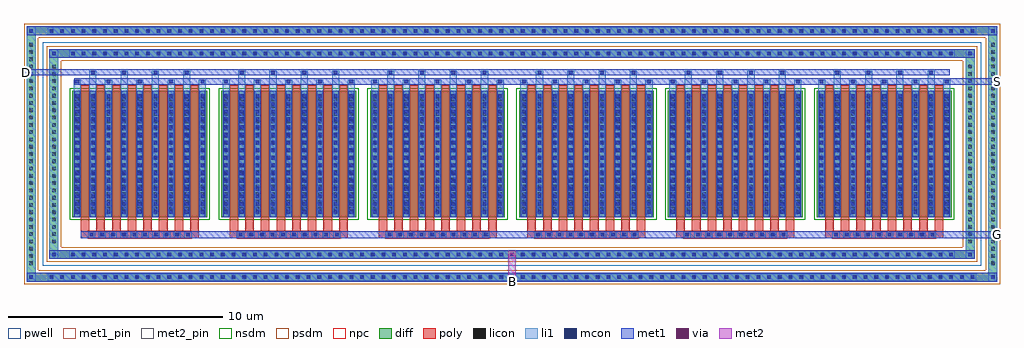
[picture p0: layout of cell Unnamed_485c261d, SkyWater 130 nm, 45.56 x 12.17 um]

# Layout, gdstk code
import gdstk
lib = gdstk.Library(unit=1e-6, precision=5e-09)
def R(c, l, rs):  # rectangles x0, y0, x1, y1
    for r in rs: c.add(gdstk.rectangle(r[:2], r[2:], *l))
def A(c, l, x, y, w, h, nx, ny, dx, dy):  # array of equal rectangles
    R(c, l, [(x+i*dx, y+j*dy, x+i*dx+w, y+j*dy+h) for i in range(nx) for j in range(ny)])
def P(c, l, *ps):  # polygons
    for p in ps: c.add(gdstk.Polygon(p, *l))
pwell = (64, 44)
diff = (65, 20)
poly = (66, 20)
licon = (66, 44)
li1 = (67, 20)
mcon = (67, 44)
met1_pin = (68, 16)
met1 = (68, 20)
via = (68, 44)
met2_pin = (69, 16)
met2 = (69, 20)
nsdm = (93, 44)
psdm = (94, 20)
npc = (95, 20)

unnamed_485c261d = lib.new_cell('Unnamed_485c261d')
R(unnamed_485c261d, pwell, [(-21.9,-5.205,21.9,5.205)])
A(unnamed_485c261d, diff, -21.705, -5.955, 0.41, 0.41, 87, 2, 0.5, 11.5)
A(unnamed_485c261d, diff, -22.65, -5.305, 0.41, 0.41, 1, 31, 0, 0.34)
A(unnamed_485c261d, diff, 22.24, -5.305, 0.41, 0.41, 1, 31, 0, 0.34)
A(unnamed_485c261d, diff, -20.705, -4.895, 0.41, 0.41, 83, 2, 0.5, 9.38)
A(unnamed_485c261d, diff, -21.59, -4.285, 0.41, 0.41, 1, 25, 0, 0.34)
A(unnamed_485c261d, diff, 21.18, -4.285, 0.41, 0.41, 1, 25, 0, 0.34)
A(unnamed_485c261d, diff, -20.52, -2.95, 6.29, 5.9, 6, 1, 6.95, 0)
R(unnamed_485c261d, diff, [(-21.705,-5.955,21.705,-5.545), (-22.65,-5.305,-22.24,5.305), (22.24,-5.305,22.65,5.305), (-20.705,-4.895,20.705,-4.485), (-21.59,-4.285,-21.18,4.285), (21.18,-4.285,21.59,4.285), (-20.705,4.485,20.705,4.895), (-21.705,5.545,21.705,5.955)])
P(unnamed_485c261d, diff, [(22.65,5.955),(-22.65,5.955),(-22.65,-5.545),(-22.24,-5.545),(-22.24,5.545),(22.24,5.545),(22.24,-5.545),(-22.24,-5.545),(-22.65,-5.545),(-22.65,-5.955),(22.65,-5.955)],
  [(21.59,4.895),(-21.59,4.895),(-21.59,-4.485),(-21.18,-4.485),(-21.18,4.485),(21.18,4.485),(21.18,-4.485),(-21.18,-4.485),(-21.59,-4.485),(-21.59,-4.895),(21.59,-4.895)])
A(unnamed_485c261d, poly, -20.13, -3.93, 5.51, 0.33, 6, 1, 6.95, 0)
A(unnamed_485c261d, poly, -19.79, -3.93, 0.33, 0.33, 10, 1, 0.5, 0)
A(unnamed_485c261d, poly, -12.84, -3.93, 0.33, 0.33, 10, 1, 0.5, 0)
A(unnamed_485c261d, poly, -5.89, -3.93, 0.33, 0.33, 10, 1, 0.5, 0)
A(unnamed_485c261d, poly, 1.06, -3.93, 0.33, 0.33, 10, 1, 0.5, 0)
A(unnamed_485c261d, poly, 8.01, -3.93, 0.33, 0.33, 10, 1, 0.5, 0)
A(unnamed_485c261d, poly, 14.96, -3.93, 0.33, 0.33, 10, 1, 0.5, 0)
A(unnamed_485c261d, poly, -20.13, -3.6, 0.4, 0.4, 8, 1, 0.73, 0)
A(unnamed_485c261d, poly, -13.18, -3.6, 0.4, 0.4, 8, 1, 0.73, 0)
A(unnamed_485c261d, poly, -6.23, -3.6, 0.4, 0.4, 8, 1, 0.73, 0)
A(unnamed_485c261d, poly, 0.72, -3.6, 0.4, 0.4, 8, 1, 0.73, 0)
A(unnamed_485c261d, poly, 7.67, -3.6, 0.4, 0.4, 8, 1, 0.73, 0)
A(unnamed_485c261d, poly, 14.62, -3.6, 0.4, 0.4, 8, 1, 0.73, 0)
A(unnamed_485c261d, poly, -20.13, -3.2, 0.4, 6.4, 8, 1, 0.73, 0)
A(unnamed_485c261d, poly, -13.18, -3.2, 0.4, 6.4, 8, 1, 0.73, 0)
A(unnamed_485c261d, poly, -6.23, -3.2, 0.4, 6.4, 8, 1, 0.73, 0)
A(unnamed_485c261d, poly, 0.72, -3.2, 0.4, 6.4, 8, 1, 0.73, 0)
A(unnamed_485c261d, poly, 7.67, -3.2, 0.4, 6.4, 8, 1, 0.73, 0)
A(unnamed_485c261d, poly, 14.62, -3.2, 0.4, 6.4, 8, 1, 0.73, 0)
A(unnamed_485c261d, licon, -21.585, -5.835, 0.17, 0.17, 87, 2, 0.5, 11.5)
A(unnamed_485c261d, licon, -22.53, -5.185, 0.17, 0.17, 1, 31, 0, 0.34)
A(unnamed_485c261d, licon, 22.36, -5.185, 0.17, 0.17, 1, 31, 0, 0.34)
A(unnamed_485c261d, licon, -20.585, -4.775, 0.17, 0.17, 83, 2, 0.5, 9.38)
A(unnamed_485c261d, licon, -21.47, -4.165, 0.17, 0.17, 1, 25, 0, 0.34)
A(unnamed_485c261d, licon, 21.3, -4.165, 0.17, 0.17, 1, 25, 0, 0.34)
A(unnamed_485c261d, licon, -19.71, -3.85, 0.17, 0.17, 10, 1, 0.5, 0)
A(unnamed_485c261d, licon, -12.76, -3.85, 0.17, 0.17, 10, 1, 0.5, 0)
A(unnamed_485c261d, licon, -5.81, -3.85, 0.17, 0.17, 10, 1, 0.5, 0)
A(unnamed_485c261d, licon, 1.14, -3.85, 0.17, 0.17, 10, 1, 0.5, 0)
A(unnamed_485c261d, licon, 8.09, -3.85, 0.17, 0.17, 10, 1, 0.5, 0)
A(unnamed_485c261d, licon, 15.04, -3.85, 0.17, 0.17, 10, 1, 0.5, 0)
A(unnamed_485c261d, licon, -20.38, -2.635, 0.17, 0.17, 9, 16, 0.73, 0.34)
A(unnamed_485c261d, licon, -13.43, -2.635, 0.17, 0.17, 9, 16, 0.73, 0.34)
A(unnamed_485c261d, licon, -6.48, -2.635, 0.17, 0.17, 9, 16, 0.73, 0.34)
A(unnamed_485c261d, licon, 0.47, -2.635, 0.17, 0.17, 9, 16, 0.73, 0.34)
A(unnamed_485c261d, licon, 7.42, -2.635, 0.17, 0.17, 9, 16, 0.73, 0.34)
A(unnamed_485c261d, licon, 14.37, -2.635, 0.17, 0.17, 9, 16, 0.73, 0.34)
A(unnamed_485c261d, li1, -21.665, -5.915, 0.33, 0.33, 87, 2, 0.5, 11.5)
A(unnamed_485c261d, li1, -22.61, -5.265, 0.33, 0.33, 1, 31, 0, 0.34)
A(unnamed_485c261d, li1, 22.28, -5.265, 0.33, 0.33, 1, 31, 0, 0.34)
A(unnamed_485c261d, li1, -20.665, -4.855, 0.33, 0.33, 83, 2, 0.5, 9.38)
A(unnamed_485c261d, li1, -21.55, -4.245, 0.33, 0.33, 1, 25, 0, 0.34)
A(unnamed_485c261d, li1, 21.22, -4.245, 0.33, 0.33, 1, 25, 0, 0.34)
A(unnamed_485c261d, li1, -19.79, -3.93, 0.33, 0.33, 10, 1, 0.5, 0)
A(unnamed_485c261d, li1, -12.84, -3.93, 0.33, 0.33, 10, 1, 0.5, 0)
A(unnamed_485c261d, li1, -5.89, -3.93, 0.33, 0.33, 10, 1, 0.5, 0)
A(unnamed_485c261d, li1, 1.06, -3.93, 0.33, 0.33, 10, 1, 0.5, 0)
A(unnamed_485c261d, li1, 8.01, -3.93, 0.33, 0.33, 10, 1, 0.5, 0)
A(unnamed_485c261d, li1, 14.96, -3.93, 0.33, 0.33, 10, 1, 0.5, 0)
A(unnamed_485c261d, li1, -20.46, -2.95, 0.33, 5.9, 9, 1, 0.73, 0)
A(unnamed_485c261d, li1, -13.51, -2.95, 0.33, 5.9, 9, 1, 0.73, 0)
A(unnamed_485c261d, li1, -6.56, -2.95, 0.33, 5.9, 9, 1, 0.73, 0)
A(unnamed_485c261d, li1, 0.39, -2.95, 0.33, 5.9, 9, 1, 0.73, 0)
A(unnamed_485c261d, li1, 7.34, -2.95, 0.33, 5.9, 9, 1, 0.73, 0)
A(unnamed_485c261d, li1, 14.29, -2.95, 0.33, 5.9, 9, 1, 0.73, 0)
A(unnamed_485c261d, li1, -20.38, -2.785, 0.17, 0.17, 9, 16, 0.73, 0.36)
A(unnamed_485c261d, li1, -20.38, -2.785, 0.17, 5.57, 9, 1, 0.73, 0)
A(unnamed_485c261d, li1, -13.43, -2.785, 0.17, 0.17, 9, 16, 0.73, 0.36)
A(unnamed_485c261d, li1, -13.43, -2.785, 0.17, 5.57, 9, 1, 0.73, 0)
A(unnamed_485c261d, li1, -6.48, -2.785, 0.17, 0.17, 9, 16, 0.73, 0.36)
A(unnamed_485c261d, li1, -6.48, -2.785, 0.17, 5.57, 9, 1, 0.73, 0)
A(unnamed_485c261d, li1, 0.47, -2.785, 0.17, 0.17, 9, 16, 0.73, 0.36)
A(unnamed_485c261d, li1, 0.47, -2.785, 0.17, 5.57, 9, 1, 0.73, 0)
A(unnamed_485c261d, li1, 7.42, -2.785, 0.17, 0.17, 9, 16, 0.73, 0.36)
A(unnamed_485c261d, li1, 7.42, -2.785, 0.17, 5.57, 9, 1, 0.73, 0)
A(unnamed_485c261d, li1, 14.37, -2.785, 0.17, 0.17, 9, 16, 0.73, 0.36)
A(unnamed_485c261d, li1, 14.37, -2.785, 0.17, 5.57, 9, 1, 0.73, 0)
A(unnamed_485c261d, li1, -20.46, -2.715, 0.33, 0.33, 9, 16, 0.73, 0.34)
A(unnamed_485c261d, li1, -13.51, -2.715, 0.33, 0.33, 9, 16, 0.73, 0.34)
A(unnamed_485c261d, li1, -6.56, -2.715, 0.33, 0.33, 9, 16, 0.73, 0.34)
A(unnamed_485c261d, li1, 0.39, -2.715, 0.33, 0.33, 9, 16, 0.73, 0.34)
A(unnamed_485c261d, li1, 7.34, -2.715, 0.33, 0.33, 9, 16, 0.73, 0.34)
A(unnamed_485c261d, li1, 14.29, -2.715, 0.33, 0.33, 9, 16, 0.73, 0.34)
A(unnamed_485c261d, li1, -20.46, 2.95, 0.33, 0.515, 5, 1, 1.46, 0)
A(unnamed_485c261d, li1, -19.73, 2.95, 0.33, 0.945, 4, 1, 1.46, 0)
A(unnamed_485c261d, li1, -13.51, 2.95, 0.33, 0.515, 5, 1, 1.46, 0)
A(unnamed_485c261d, li1, -12.78, 2.95, 0.33, 0.945, 4, 1, 1.46, 0)
A(unnamed_485c261d, li1, -6.56, 2.95, 0.33, 0.515, 5, 1, 1.46, 0)
A(unnamed_485c261d, li1, -5.83, 2.95, 0.33, 0.945, 4, 1, 1.46, 0)
A(unnamed_485c261d, li1, 0.39, 2.95, 0.33, 0.515, 5, 1, 1.46, 0)
A(unnamed_485c261d, li1, 1.12, 2.95, 0.33, 0.945, 4, 1, 1.46, 0)
A(unnamed_485c261d, li1, 7.34, 2.95, 0.33, 0.515, 5, 1, 1.46, 0)
A(unnamed_485c261d, li1, 8.07, 2.95, 0.33, 0.945, 4, 1, 1.46, 0)
A(unnamed_485c261d, li1, 14.29, 2.95, 0.33, 0.515, 5, 1, 1.46, 0)
A(unnamed_485c261d, li1, 15.02, 2.95, 0.33, 0.945, 4, 1, 1.46, 0)
A(unnamed_485c261d, li1, -20.38, 3.295, 0.17, 0.17, 5, 1, 1.46, 0)
A(unnamed_485c261d, li1, -13.43, 3.295, 0.17, 0.17, 5, 1, 1.46, 0)
A(unnamed_485c261d, li1, -6.48, 3.295, 0.17, 0.17, 5, 1, 1.46, 0)
A(unnamed_485c261d, li1, 0.47, 3.295, 0.17, 0.17, 5, 1, 1.46, 0)
A(unnamed_485c261d, li1, 7.42, 3.295, 0.17, 0.17, 5, 1, 1.46, 0)
A(unnamed_485c261d, li1, 14.37, 3.295, 0.17, 0.17, 5, 1, 1.46, 0)
A(unnamed_485c261d, li1, -19.65, 3.725, 0.17, 0.17, 4, 1, 1.46, 0)
A(unnamed_485c261d, li1, -12.7, 3.725, 0.17, 0.17, 4, 1, 1.46, 0)
A(unnamed_485c261d, li1, -5.75, 3.725, 0.17, 0.17, 4, 1, 1.46, 0)
A(unnamed_485c261d, li1, 1.2, 3.725, 0.17, 0.17, 4, 1, 1.46, 0)
A(unnamed_485c261d, li1, 8.15, 3.725, 0.17, 0.17, 4, 1, 1.46, 0)
A(unnamed_485c261d, li1, 15.1, 3.725, 0.17, 0.17, 4, 1, 1.46, 0)
R(unnamed_485c261d, li1, [(-22.65,-5.955,-22.24,-5.545), (22.24,-5.955,22.65,-5.545), (-21.665,-5.915,21.665,-5.585), (-22.53,-5.835,-22.36,-5.665), (-22.53,-5.835,-22.36,-5.665), (22.36,-5.835,22.53,-5.665), (22.36,-5.835,22.53,-5.665), (-22.65,-5.545,-22.24,5.545), (22.24,-5.545,22.65,5.545), (-21.59,-4.895,-21.18,-4.485), (21.18,-4.895,21.59,-4.485), (-20.665,-4.855,20.665,-4.525), (-21.47,-4.775,-21.3,-4.605), (-21.47,-4.775,-21.3,-4.605), (21.3,-4.775,21.47,-4.605), (21.3,-4.775,21.47,-4.605), (-21.59,-4.485,-21.18,4.485), (21.18,-4.485,21.59,4.485), (-21.59,4.485,-21.18,4.895), (21.18,4.485,21.59,4.895), (-20.665,4.525,20.665,4.855), (-21.47,4.605,-21.3,4.775), (-21.47,4.605,-21.3,4.775), (21.3,4.605,21.47,4.775), (21.3,4.605,21.47,4.775), (-22.65,5.545,-22.24,5.955), (22.24,5.545,22.65,5.955), (-21.665,5.585,21.665,5.915), (-22.53,5.665,-22.36,5.835), (-22.53,5.665,-22.36,5.835), (22.36,5.665,22.53,5.835), (22.36,5.665,22.53,5.835)])
A(unnamed_485c261d, mcon, -21.585, -5.835, 0.17, 0.17, 87, 2, 0.5, 11.5)
A(unnamed_485c261d, mcon, -20.585, -4.775, 0.17, 0.17, 83, 2, 0.5, 9.38)
A(unnamed_485c261d, mcon, -19.71, -3.85, 0.17, 0.17, 10, 1, 0.5, 0)
A(unnamed_485c261d, mcon, -12.76, -3.85, 0.17, 0.17, 10, 1, 0.5, 0)
A(unnamed_485c261d, mcon, -5.81, -3.85, 0.17, 0.17, 10, 1, 0.5, 0)
A(unnamed_485c261d, mcon, 1.14, -3.85, 0.17, 0.17, 10, 1, 0.5, 0)
A(unnamed_485c261d, mcon, 8.09, -3.85, 0.17, 0.17, 10, 1, 0.5, 0)
A(unnamed_485c261d, mcon, 15.04, -3.85, 0.17, 0.17, 10, 1, 0.5, 0)
A(unnamed_485c261d, mcon, -20.38, -2.785, 0.17, 0.17, 9, 16, 0.73, 0.36)
A(unnamed_485c261d, mcon, -13.43, -2.785, 0.17, 0.17, 9, 16, 0.73, 0.36)
A(unnamed_485c261d, mcon, -6.48, -2.785, 0.17, 0.17, 9, 16, 0.73, 0.36)
A(unnamed_485c261d, mcon, 0.47, -2.785, 0.17, 0.17, 9, 16, 0.73, 0.36)
A(unnamed_485c261d, mcon, 7.42, -2.785, 0.17, 0.17, 9, 16, 0.73, 0.36)
A(unnamed_485c261d, mcon, 14.37, -2.785, 0.17, 0.17, 9, 16, 0.73, 0.36)
A(unnamed_485c261d, mcon, -20.38, 3.295, 0.17, 0.17, 5, 1, 1.46, 0)
A(unnamed_485c261d, mcon, -13.43, 3.295, 0.17, 0.17, 5, 1, 1.46, 0)
A(unnamed_485c261d, mcon, -6.48, 3.295, 0.17, 0.17, 5, 1, 1.46, 0)
A(unnamed_485c261d, mcon, 0.47, 3.295, 0.17, 0.17, 5, 1, 1.46, 0)
A(unnamed_485c261d, mcon, 7.42, 3.295, 0.17, 0.17, 5, 1, 1.46, 0)
A(unnamed_485c261d, mcon, 14.37, 3.295, 0.17, 0.17, 5, 1, 1.46, 0)
A(unnamed_485c261d, mcon, -19.65, 3.725, 0.17, 0.17, 4, 1, 1.46, 0)
A(unnamed_485c261d, mcon, -12.7, 3.725, 0.17, 0.17, 4, 1, 1.46, 0)
A(unnamed_485c261d, mcon, -5.75, 3.725, 0.17, 0.17, 4, 1, 1.46, 0)
A(unnamed_485c261d, mcon, 1.2, 3.725, 0.17, 0.17, 4, 1, 1.46, 0)
A(unnamed_485c261d, mcon, 8.15, 3.725, 0.17, 0.17, 4, 1, 1.46, 0)
A(unnamed_485c261d, mcon, 15.1, 3.725, 0.17, 0.17, 4, 1, 1.46, 0)
R(unnamed_485c261d, mcon, [(-22.53,-5.835,-22.36,-5.665), (22.36,-5.835,22.53,-5.665), (-21.47,-4.775,-21.3,-4.605), (21.3,-4.775,21.47,-4.605), (-21.47,4.605,-21.3,4.775), (21.3,4.605,21.47,4.775), (-22.53,5.665,-22.36,5.835), (22.36,5.665,22.53,5.835)])
R(unnamed_485c261d, met1_pin, [(22.51,-3.9,22.78,-3.63), (22.51,3.245,22.78,3.515), (-22.78,3.675,-22.51,3.945)])
A(unnamed_485c261d, met1, -21.645, -5.895, 0.29, 0.29, 87, 2, 0.5, 11.5)
A(unnamed_485c261d, met1, -20.645, -4.835, 0.29, 0.29, 83, 2, 0.5, 9.38)
A(unnamed_485c261d, met1, -20.13, -3.93, 5.51, 0.33, 6, 1, 6.95, 0)
A(unnamed_485c261d, met1, -14.62, -3.93, 1.44, 0.33, 5, 1, 6.95, 0)
A(unnamed_485c261d, met1, -19.77, -3.91, 0.29, 0.29, 10, 1, 0.5, 0)
A(unnamed_485c261d, met1, -12.82, -3.91, 0.29, 0.29, 10, 1, 0.5, 0)
A(unnamed_485c261d, met1, -5.87, -3.91, 0.29, 0.29, 10, 1, 0.5, 0)
A(unnamed_485c261d, met1, 1.08, -3.91, 0.29, 0.29, 10, 1, 0.5, 0)
A(unnamed_485c261d, met1, 8.03, -3.91, 0.29, 0.29, 10, 1, 0.5, 0)
A(unnamed_485c261d, met1, 14.98, -3.91, 0.29, 0.29, 10, 1, 0.5, 0)
A(unnamed_485c261d, met1, -20.44, -2.95, 0.29, 5.9, 9, 1, 0.73, 0)
A(unnamed_485c261d, met1, -13.49, -2.95, 0.29, 5.9, 9, 1, 0.73, 0)
A(unnamed_485c261d, met1, -6.54, -2.95, 0.29, 5.9, 9, 1, 0.73, 0)
A(unnamed_485c261d, met1, 0.41, -2.95, 0.29, 5.9, 9, 1, 0.73, 0)
A(unnamed_485c261d, met1, 7.36, -2.95, 0.29, 5.9, 9, 1, 0.73, 0)
A(unnamed_485c261d, met1, 14.31, -2.95, 0.29, 5.9, 9, 1, 0.73, 0)
A(unnamed_485c261d, met1, -20.44, -2.845, 0.29, 0.29, 9, 16, 0.73, 0.36)
A(unnamed_485c261d, met1, -13.49, -2.845, 0.29, 0.29, 9, 16, 0.73, 0.36)
A(unnamed_485c261d, met1, -6.54, -2.845, 0.29, 0.29, 9, 16, 0.73, 0.36)
A(unnamed_485c261d, met1, 0.41, -2.845, 0.29, 0.29, 9, 16, 0.73, 0.36)
A(unnamed_485c261d, met1, 7.36, -2.845, 0.29, 0.29, 9, 16, 0.73, 0.36)
A(unnamed_485c261d, met1, 14.31, -2.845, 0.29, 0.29, 9, 16, 0.73, 0.36)
A(unnamed_485c261d, met1, -20.44, 3.235, 0.29, 0.29, 5, 1, 1.46, 0)
A(unnamed_485c261d, met1, -20.44, 3.235, 6.13, 0.29, 6, 2, 6.95, 0.43)
A(unnamed_485c261d, met1, -14.31, 3.235, 0.82, 0.29, 5, 2, 6.95, 0.43)
A(unnamed_485c261d, met1, -13.49, 3.235, 0.29, 0.29, 5, 1, 1.46, 0)
A(unnamed_485c261d, met1, -6.54, 3.235, 0.29, 0.29, 5, 1, 1.46, 0)
A(unnamed_485c261d, met1, 0.41, 3.235, 0.29, 0.29, 5, 1, 1.46, 0)
A(unnamed_485c261d, met1, 7.36, 3.235, 0.29, 0.29, 5, 1, 1.46, 0)
A(unnamed_485c261d, met1, 14.31, 3.235, 0.29, 0.29, 5, 1, 1.46, 0)
A(unnamed_485c261d, met1, -19.71, 3.665, 0.29, 0.29, 4, 1, 1.46, 0)
A(unnamed_485c261d, met1, -12.76, 3.665, 0.29, 0.29, 4, 1, 1.46, 0)
A(unnamed_485c261d, met1, -5.81, 3.665, 0.29, 0.29, 4, 1, 1.46, 0)
A(unnamed_485c261d, met1, 1.14, 3.665, 0.29, 0.29, 4, 1, 1.46, 0)
A(unnamed_485c261d, met1, 8.09, 3.665, 0.29, 0.29, 4, 1, 1.46, 0)
A(unnamed_485c261d, met1, 15.04, 3.665, 0.29, 0.29, 4, 1, 1.46, 0)
R(unnamed_485c261d, met1, [(-22.65,-5.955,-22.24,-5.545), (-22.65,-5.955,-22.24,-5.545), (-22.24,-5.955,22.24,-5.545), (22.24,-5.955,22.65,-5.545), (22.24,-5.955,22.65,-5.545), (-22.59,-5.895,-22.3,-5.605), (22.3,-5.895,22.59,-5.605), (-21.59,-4.895,-21.18,-4.485), (-21.59,-4.895,-21.18,-4.485), (-21.18,-4.895,21.18,-4.485), (21.18,-4.895,21.59,-4.485), (21.18,-4.895,21.59,-4.485), (-21.53,-4.835,-21.24,-4.545), (21.24,-4.835,21.53,-4.545), (20.13,-3.93,22.78,-3.6), (20.44,3.235,22.78,3.525), (-22.78,3.665,-20.44,3.955), (-21.59,4.485,-21.18,4.895), (-21.59,4.485,-21.18,4.895), (-21.18,4.485,21.18,4.895), (21.18,4.485,21.59,4.895), (21.18,4.485,21.59,4.895), (-21.53,4.545,-21.24,4.835), (21.24,4.545,21.53,4.835), (-22.65,5.545,-22.24,5.955), (-22.65,5.545,-22.24,5.955), (-22.24,5.545,22.24,5.955), (22.24,5.545,22.65,5.955), (22.24,5.545,22.65,5.955), (-22.59,5.605,-22.3,5.895), (22.3,5.605,22.59,5.895)])
R(unnamed_485c261d, via, [(-0.075,-4.765,0.075,-4.615)])
R(unnamed_485c261d, met2_pin, [(-0.135,-6.085,0.135,-5.815)])
R(unnamed_485c261d, met2, [(-0.165,-6.085,0.165,-4.525), (-0.165,-4.855,0.165,-4.525)])
A(unnamed_485c261d, nsdm, -20.65, -3.08, 6.55, 6.16, 6, 1, 6.95, 0)
P(unnamed_485c261d, psdm, [(22.78,6.085),(-22.78,6.085),(-22.78,-5.415),(-22.11,-5.415),(-22.11,5.415),(22.11,5.415),(22.11,-5.415),(-22.11,-5.415),(-22.78,-5.415),(-22.78,-6.085),(22.78,-6.085)],
  [(21.72,5.025),(-21.72,5.025),(-21.72,-4.355),(-21.05,-4.355),(-21.05,4.355),(21.05,4.355),(21.05,-4.355),(-21.05,-4.355),(-21.72,-4.355),(-21.72,-5.025),(21.72,-5.025)])
A(unnamed_485c261d, npc, -19.81, -3.95, 0.37, 0.37, 10, 1, 0.5, 0)
A(unnamed_485c261d, npc, -12.86, -3.95, 0.37, 0.37, 10, 1, 0.5, 0)
A(unnamed_485c261d, npc, -5.91, -3.95, 0.37, 0.37, 10, 1, 0.5, 0)
A(unnamed_485c261d, npc, 1.04, -3.95, 0.37, 0.37, 10, 1, 0.5, 0)
A(unnamed_485c261d, npc, 7.99, -3.95, 0.37, 0.37, 10, 1, 0.5, 0)
A(unnamed_485c261d, npc, 14.94, -3.95, 0.37, 0.37, 10, 1, 0.5, 0)
R(unnamed_485c261d, npc, [(-19.81,-3.95,-18.94,-3.58), (-19.81,-3.95,-18.94,-3.58), (-19.31,-3.95,-18.44,-3.58), (-19.31,-3.95,-18.44,-3.58), (-18.81,-3.95,-17.94,-3.58), (-18.81,-3.95,-17.94,-3.58), (-18.31,-3.95,-17.44,-3.58), (-18.31,-3.95,-17.44,-3.58), (-17.81,-3.95,-16.94,-3.58), (-17.81,-3.95,-16.94,-3.58), (-17.31,-3.95,-16.44,-3.58), (-17.31,-3.95,-16.44,-3.58), (-16.81,-3.95,-15.94,-3.58), (-16.81,-3.95,-15.94,-3.58), (-16.31,-3.95,-15.44,-3.58), (-16.31,-3.95,-15.44,-3.58), (-15.81,-3.95,-14.94,-3.58), (-15.81,-3.95,-14.94,-3.58), (-12.86,-3.95,-11.99,-3.58), (-12.86,-3.95,-11.99,-3.58), (-12.36,-3.95,-11.49,-3.58), (-12.36,-3.95,-11.49,-3.58), (-11.86,-3.95,-10.99,-3.58), (-11.86,-3.95,-10.99,-3.58), (-11.36,-3.95,-10.49,-3.58), (-11.36,-3.95,-10.49,-3.58), (-10.86,-3.95,-9.99,-3.58), (-10.86,-3.95,-9.99,-3.58), (-10.36,-3.95,-9.49,-3.58), (-10.36,-3.95,-9.49,-3.58), (-9.86,-3.95,-8.99,-3.58), (-9.86,-3.95,-8.99,-3.58), (-9.36,-3.95,-8.49,-3.58), (-9.36,-3.95,-8.49,-3.58), (-8.86,-3.95,-7.99,-3.58), (-8.86,-3.95,-7.99,-3.58), (-5.91,-3.95,-5.04,-3.58), (-5.91,-3.95,-5.04,-3.58), (-5.41,-3.95,-4.54,-3.58), (-5.41,-3.95,-4.54,-3.58), (-4.91,-3.95,-4.04,-3.58), (-4.91,-3.95,-4.04,-3.58), (-4.41,-3.95,-3.54,-3.58), (-4.41,-3.95,-3.54,-3.58), (-3.91,-3.95,-3.04,-3.58), (-3.91,-3.95,-3.04,-3.58), (-3.41,-3.95,-2.54,-3.58), (-3.41,-3.95,-2.54,-3.58), (-2.91,-3.95,-2.04,-3.58), (-2.91,-3.95,-2.04,-3.58), (-2.41,-3.95,-1.54,-3.58), (-2.41,-3.95,-1.54,-3.58), (-1.91,-3.95,-1.04,-3.58), (-1.91,-3.95,-1.04,-3.58), (1.04,-3.95,1.91,-3.58), (1.04,-3.95,1.91,-3.58), (1.54,-3.95,2.41,-3.58), (1.54,-3.95,2.41,-3.58), (2.04,-3.95,2.91,-3.58), (2.04,-3.95,2.91,-3.58), (2.54,-3.95,3.41,-3.58), (2.54,-3.95,3.41,-3.58), (3.04,-3.95,3.91,-3.58), (3.04,-3.95,3.91,-3.58), (3.54,-3.95,4.41,-3.58), (3.54,-3.95,4.41,-3.58), (4.04,-3.95,4.91,-3.58), (4.04,-3.95,4.91,-3.58), (4.54,-3.95,5.41,-3.58), (4.54,-3.95,5.41,-3.58), (5.04,-3.95,5.91,-3.58), (5.04,-3.95,5.91,-3.58), (7.99,-3.95,8.86,-3.58), (7.99,-3.95,8.86,-3.58), (8.49,-3.95,9.36,-3.58), (8.49,-3.95,9.36,-3.58), (8.99,-3.95,9.86,-3.58), (8.99,-3.95,9.86,-3.58), (9.49,-3.95,10.36,-3.58), (9.49,-3.95,10.36,-3.58), (9.99,-3.95,10.86,-3.58), (9.99,-3.95,10.86,-3.58), (10.49,-3.95,11.36,-3.58), (10.49,-3.95,11.36,-3.58), (10.99,-3.95,11.86,-3.58), (10.99,-3.95,11.86,-3.58), (11.49,-3.95,12.36,-3.58), (11.49,-3.95,12.36,-3.58), (11.99,-3.95,12.86,-3.58), (11.99,-3.95,12.86,-3.58), (14.94,-3.95,15.81,-3.58), (14.94,-3.95,15.81,-3.58), (15.44,-3.95,16.31,-3.58), (15.44,-3.95,16.31,-3.58), (15.94,-3.95,16.81,-3.58), (15.94,-3.95,16.81,-3.58), (16.44,-3.95,17.31,-3.58), (16.44,-3.95,17.31,-3.58), (16.94,-3.95,17.81,-3.58), (16.94,-3.95,17.81,-3.58), (17.44,-3.95,18.31,-3.58), (17.44,-3.95,18.31,-3.58), (17.94,-3.95,18.81,-3.58), (17.94,-3.95,18.81,-3.58), (18.44,-3.95,19.31,-3.58), (18.44,-3.95,19.31,-3.58), (18.94,-3.95,19.81,-3.58), (18.94,-3.95,19.81,-3.58)])
unnamed_485c261d.add(gdstk.Label('D', (-22.645,3.81), layer=68, texttype=5))
unnamed_485c261d.add(gdstk.Label('S', (22.645,3.38), layer=68, texttype=5))
unnamed_485c261d.add(gdstk.Label('G', (22.645,-3.765), layer=68, texttype=5))
unnamed_485c261d.add(gdstk.Label('B', (0,-5.95), layer=69, texttype=5))

lib.write_gds('Unnamed_485c261d.gds')
